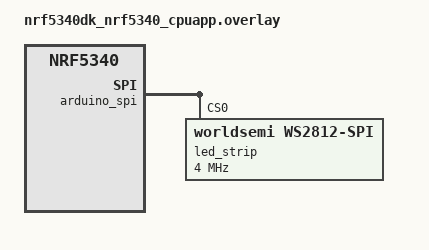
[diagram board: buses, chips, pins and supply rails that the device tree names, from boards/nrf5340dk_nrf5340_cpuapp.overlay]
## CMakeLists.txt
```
cmake_minimum_required(VERSION 3.13.1)


find_package(Zephyr REQUIRED HINTS $ENV{ZEPHYR_BASE})

project(ble_central_fem)

target_sources(app PRIVATE src/main.c)

zephyr_library_include_directories(${ZEPHYR_BASE}/samples/bluetooth)
```

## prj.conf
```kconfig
CONFIG_BT=y
CONFIG_BT_DEBUG_LOG=y
CONFIG_BT_CENTRAL=y
CONFIG_BT_SMP=y
CONFIG_BT_GATT_CLIENT=y
CONFIG_THREAD_STACK_INFO=y
CONFIG_NEWLIB_LIBC=y
CONFIG_LOG=y

CONFIG_DK_LIBRARY=y
CONFIG_SPI=y
CONFIG_LED_STRIP=y
CONFIG_LED_STRIP_LOG_LEVEL_DBG=y
CONFIG_WS2812_STRIP=y

CONFIG_MPSL_FEM_NRF21540_GPIO_SPI=y
```

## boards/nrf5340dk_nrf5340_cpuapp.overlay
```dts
#include <zephyr/dt-bindings/led/led.h>

#define SPI_FREQ    4000000
#define ZERO_FRAME  0x40
#define ONE_FRAME   0x70
#define NUM_LEDS    300

&arduino_spi { /* MOSI on D11 / P1.13 */
	compatible = "nordic,nrf-spim";
	led_strip: ws2812@0 {
		compatible = "worldsemi,ws2812-spi";

		/* SPI */
		reg = <0>; /* ignored, but necessary for SPI bindings */
		spi-max-frequency = <SPI_FREQ>;

		/* WS2812 or similar */
		chain-length = <NUM_LEDS>; 
		color-mapping = <LED_COLOR_ID_GREEN
				 LED_COLOR_ID_RED
				 LED_COLOR_ID_BLUE>;
		spi-one-frame = <ONE_FRAME>;
		spi-zero-frame = <ZERO_FRAME>;
	};
};

/ {
	aliases {
		led-strip = &led_strip;
	};
};
```

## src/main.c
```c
#include <stdio.h>
#include <string.h>
#include <math.h>

#include <zephyr/zephyr.h>
#include <zephyr/drivers/led_strip.h>
#include <zephyr/device.h>
#include <zephyr/drivers/spi.h>
#include <zephyr/sys/util.h>
#include <bluetooth/bluetooth.h>
#include <bluetooth/hci.h>
#include <bluetooth/conn.h>
#include <bluetooth/uuid.h>
#include <bluetooth/gatt.h>
#include <sys/byteorder.h>
#include <bluetooth/services/lbs.h>
#include <dk_buttons_and_leds.h>

#define LOG_LEVEL CONFIG_LOG_DEFAULT_LEVEL
#include <logging/log.h>
LOG_MODULE_REGISTER(ble_central);

#define STRIP_NODE              DT_ALIAS(led_strip)
#define STRIP_NUM_PIXELS        DT_PROP(DT_ALIAS(led_strip), chain_length)
#define DELAY_TIME K_MSEC(20)
#define DEFAULT_SPEED 20
#define SPEED_INCREMENT 50
#define NUM_LED_STATES 4

static void start_scan();

static struct bt_conn *default_conn;
static struct bt_uuid_128 uuid = BT_UUID_INIT_128(0);
static struct bt_gatt_discover_params discover_params;
static struct bt_gatt_subscribe_params subscribe_params;

struct led_rgb pixels[STRIP_NUM_PIXELS];
static const struct device *strip = DEVICE_DT_GET(STRIP_NODE);
static bool led_strip_on = true;
static int led_state = 1;
static int speed = DEFAULT_SPEED;

uint8_t GAMMA_8BIT[256] = {
      0, 0, 0, 0, 0, 0, 0, 0, 0, 0, 0, 0, 0, 0, 0, 0,
      0, 0, 0, 0, 0, 0, 1, 1, 1, 1, 1, 1, 1, 2, 2, 2,
      2, 2, 2, 3, 3, 3, 3, 3, 4, 4, 4, 4, 5, 5, 5, 5,
      6, 6, 6, 7, 7, 7, 8, 8, 8, 9, 9, 9, 10, 10, 11, 11,
      11, 12, 12, 13, 13, 13, 14, 14, 15, 15, 16, 16, 17, 17, 18, 18,
      19, 19, 20, 21, 21, 22, 22, 23, 23, 24, 25, 25, 26, 27, 27, 28,
      29, 29, 30, 31, 31, 32, 33, 34, 34, 35, 36, 37, 37, 38, 39, 40,
      40, 41, 42, 43, 44, 45, 46, 46, 47, 48, 49, 50, 51, 52, 53, 54,
      55, 56, 57, 58, 59, 60, 61, 62, 63, 64, 65, 66, 67, 68, 69, 70,
      71, 72, 73, 74, 76, 77, 78, 79, 80, 81, 83, 84, 85, 86, 88, 89,
      90, 91, 93, 94, 95, 96, 98, 99, 100, 102, 103, 104, 106, 107, 109, 110,
      111, 113, 114, 116, 117, 119, 120, 121, 123, 124, 126, 128, 129, 131, 132, 134,
      135, 137, 138, 140, 142, 143, 145, 146, 148, 150, 151, 153, 155, 157, 158, 160,
      162, 163, 165, 167, 169, 170, 172, 174, 176, 178, 179, 181, 183, 185, 187, 189,
      191, 193, 194, 196, 198, 200, 202, 204, 206, 208, 210, 212, 214, 216, 218, 220,
      222, 224, 227, 229, 231, 233, 235, 237, 239, 241, 244, 246, 248, 250, 252, 255};

void set_rgb(uint32_t index, uint8_t r, uint8_t g, uint8_t b) {
    struct led_rgb color;
    color.r = GAMMA_8BIT[r];
    color.g = GAMMA_8BIT[g];
    color.b = GAMMA_8BIT[b];
    memcpy(&pixels[index], &color, sizeof(struct led_rgb));
}

void pixels_set_hsv(uint32_t index, float h, float s, float v)
{
    float i = floor(h * 6.0f);
    float f = h * 6.0f - i;
    v *= 255.0f;
    uint8_t p = v * (1.0f - s);
    uint8_t q = v * (1.0f - f * s);
    uint8_t t = v * (1.0f - (1.0f - f) * s);

    switch ((int)i % 6) {
      case 0: set_rgb(index, v, t, p); break;
      case 1: set_rgb(index, q, v, p); break;
      case 2: set_rgb(index, p, v, t); break;
      case 3: set_rgb(index, p, q, v); break;
      case 4: set_rgb(index, t, p, v); break;
      case 5: set_rgb(index, v, p, q); break;
    }
}

static uint8_t notify_func(struct bt_conn *conn,
               struct bt_gatt_subscribe_params *params,
               const void *payload, uint16_t length)
{
    if (!payload) {
        params->value_handle = 0U;
        LOG_INF("[UNSUBSCRIBED]\n");
        return BT_GATT_ITER_STOP;
    }

    led_state++;

    if (led_state > NUM_LED_STATES) {
        led_state = 0;
    }

    if (led_state == 0) {
        led_strip_on = false; 
    } else {
        led_strip_on = true; 
    }
    
    if (led_state == 1) { 
        speed = DEFAULT_SPEED;
    } else {
        speed += SPEED_INCREMENT;
    }
   
    LOG_INF("led_strip_on = %d\n", led_strip_on);

    return BT_GATT_ITER_CONTINUE;
}

static uint8_t discover_func(struct bt_conn *conn,
                 const struct bt_gatt_attr *attr,
                 struct bt_gatt_discover_params *params)
{
    int err;

    if (!attr) {
        printk("Discover complete\n");
        (void)memset(params, 0, sizeof(*params));
        return BT_GATT_ITER_STOP;
    }

    LOG_INF("[ATTRIBUTE] handle %u\n", attr->handle);

    if (!bt_uuid_cmp(discover_params.uuid, BT_UUID_LBS)) {
        memcpy(&uuid, BT_UUID_LBS_BUTTON, sizeof(uuid));
        discover_params.uuid = &uuid.uuid;
        discover_params.start_handle = attr->handle + 1;
        discover_params.type = BT_GATT_DISCOVER_CHARACTERISTIC;

        err = bt_gatt_discover(conn, &discover_params);
        if (err) {
            LOG_ERR("Discover failed (err %d)\n", err);
        }
    } else if (!bt_uuid_cmp(discover_params.uuid, BT_UUID_LBS_BUTTON)) {
        memcpy(&uuid, BT_UUID_GATT_CCC, sizeof(uuid));
        discover_params.uuid = &uuid.uuid;
        discover_params.start_handle = attr->handle + 2;
        discover_params.type = BT_GATT_DISCOVER_DESCRIPTOR;
        subscribe_params.value_handle = bt_gatt_attr_value_handle(attr);

        err = bt_gatt_discover(conn, &discover_params);
        if (err) {
            LOG_ERR("Discover failed (err %d)\n", err);
        }
    } else {
        subscribe_params.notify = notify_func;
        subscribe_params.value = BT_GATT_CCC_NOTIFY;
        subscribe_params.ccc_handle = attr->handle;

        err = bt_gatt_subscribe(conn, &subscribe_params);
        if (err && err != -EALREADY) {
            LOG_ERR("Subscribe failed (err %d)\n", err);
        } else {
            LOG_INF("[SUBSCRIBED] %u\n",  attr->handle);
        }

        return BT_GATT_ITER_STOP;
    }

    return BT_GATT_ITER_STOP;
}

static bool eir_found(struct bt_data *data, void *user_data)
{
    bt_addr_le_t *addr = user_data;
    LOG_INF("[AD]: %u data_len %u\n", data->type, data->data_len);

    if ( data->type == BT_DATA_NAME_COMPLETE) {
        struct bt_le_conn_param *param;
        uint8_t name[data->data_len+1];
        memcpy(name, data->data, data->data_len);
            name[data->data_len] = 0;

        if (strcmp(name, "Nordic_LBS")) {
            return true;
        }
            
        int err = bt_le_scan_stop();
        if (err) {
            LOG_ERR("Stop LE scan failed (err %d)\n", err);
            return true;
        }

        param = BT_LE_CONN_PARAM_DEFAULT;
        err = bt_conn_le_create(addr, BT_CONN_LE_CREATE_CONN,
                    param, &default_conn);
        if (err) {
            LOG_ERR("Create conn failed (err %d)\n", err);
            start_scan();
        }
            
        LOG_INF("Found:  %s\n", name);

        return false;
    }
    return true;
}

static void device_found(const bt_addr_le_t *addr, int8_t rssi, uint8_t type,
             struct net_buf_simple *ad)
{
    char dev[BT_ADDR_LE_STR_LEN];

    bt_addr_le_to_str(addr, dev, sizeof(dev));
    LOG_INF("[DEVICE]: %s, AD evt type %u, AD data len %u, RSSI %i\n",
           dev, type, ad->len, rssi);

    /* We're only interested in connectable events */
    if (type == BT_GAP_ADV_TYPE_ADV_IND ||
        type == BT_GAP_ADV_TYPE_ADV_DIRECT_IND) {
        bt_data_parse(ad, eir_found, (void *)addr);
    }
}

static void start_scan()
{
    int err;

    /* Use active scanning and disable duplicate filtering to handle any
     * devices that might update their advertising data at runtime. */
    struct bt_le_scan_param scan_param = {
        .type       = BT_LE_SCAN_TYPE_ACTIVE,
        .options    = BT_LE_SCAN_OPT_NONE,
        .interval   = BT_GAP_SCAN_FAST_INTERVAL,
        .window     = BT_GAP_SCAN_FAST_WINDOW,
    };

    err = bt_le_scan_start(&scan_param, device_found);
    if (err) {
        LOG_ERR("Scanning failed to start (err %d)\n", err);
        return;
    }

    LOG_INF("Scanning successfully started\n");
}

static void connected(struct bt_conn *conn, uint8_t conn_err)
{
    char addr[BT_ADDR_LE_STR_LEN];
    int err;

    bt_addr_le_to_str(bt_conn_get_dst(conn), addr, sizeof(addr));

    if (conn_err) {
        LOG_ERR("Failed to connect to %s (%u)\n", addr, conn_err);

        bt_conn_unref(default_conn);
        default_conn = NULL;

        start_scan();
        return;
    }

    LOG_INF("Connected: %s\n", addr);
    dk_set_led_on(DK_LED1);

    if (conn == default_conn) {
        LOG_INF("discovering services\n");

        memcpy(&uuid, BT_UUID_LBS, sizeof(uuid));
        discover_params.uuid = &uuid.uuid;
        discover_params.func = discover_func;
        discover_params.start_handle = 0x0001;
        discover_params.end_handle = 0xffff;
        discover_params.type = BT_GATT_DISCOVER_PRIMARY;

        err = bt_gatt_discover(default_conn, &discover_params);
        if (err) {
            LOG_ERR("Discover failed(err %d)\n", err);
            return;
        }
    }
}

static void disconnected(struct bt_conn *conn, uint8_t reason)
{
    char addr[BT_ADDR_LE_STR_LEN];

    bt_addr_le_to_str(bt_conn_get_dst(conn), addr, sizeof(addr));

    LOG_INF("Disconnected: %s (reason 0x%02x)\n", addr, reason);

    if (default_conn != conn) {
        return;
    }

    bt_conn_unref(default_conn);
    default_conn = NULL;
    dk_set_led_off(DK_LED1);

    start_scan();
}

static struct bt_conn_cb conn_callbacks = {
    .connected = connected,
    .disconnected = disconnected,
};

void main()
{
    int err;

    err = dk_leds_init();

    if (err) {
        printk("LEDs init failed (err %d)\n", err);
        return;
    }

    if (device_is_ready(strip)) {
        LOG_INF("Found LED strip device %s", strip->name);
    } else {
        LOG_ERR("LED strip device %s is not ready", strip->name);
        return;
    }

    err = bt_enable(NULL);

    if (err) {
        LOG_ERR("Bluetooth init failed (err %d)\n", err);
        return;
    }

    LOG_INF("Bluetooth initialized\n");
    bt_conn_cb_register(&conn_callbacks);
    start_scan();

    int rc;
    bool pixels_off = true;
    float offset = 0.0f;
    memset(&pixels, 0x00, sizeof(pixels));

    while (1) {
        if (led_strip_on) {
            LOG_INF("LED strip ON");
            offset += (float)speed / 2000.0f;

            for (int i = 0; i < STRIP_NUM_PIXELS; i = i + 3) {
                float hue = (float)i / (STRIP_NUM_PIXELS/3);
                pixels_set_hsv(i, hue + offset, 1.0f, 1.0f);
            }

            rc = led_strip_update_rgb(strip, pixels, STRIP_NUM_PIXELS);

            if (rc) {
                    LOG_ERR("couldn't update strip: %d", rc);
            }
            pixels_off = false;
        } else {
            if (!pixels_off) {
                memset(&pixels, 0x00, sizeof(pixels));
                rc = led_strip_update_rgb(strip, pixels, STRIP_NUM_PIXELS);
                if (rc) {
                    LOG_ERR("couldn't update strip: %d", rc);
                }
                pixels_off = true;
            }
        }
        k_sleep(DELAY_TIME);
    }
}
```
